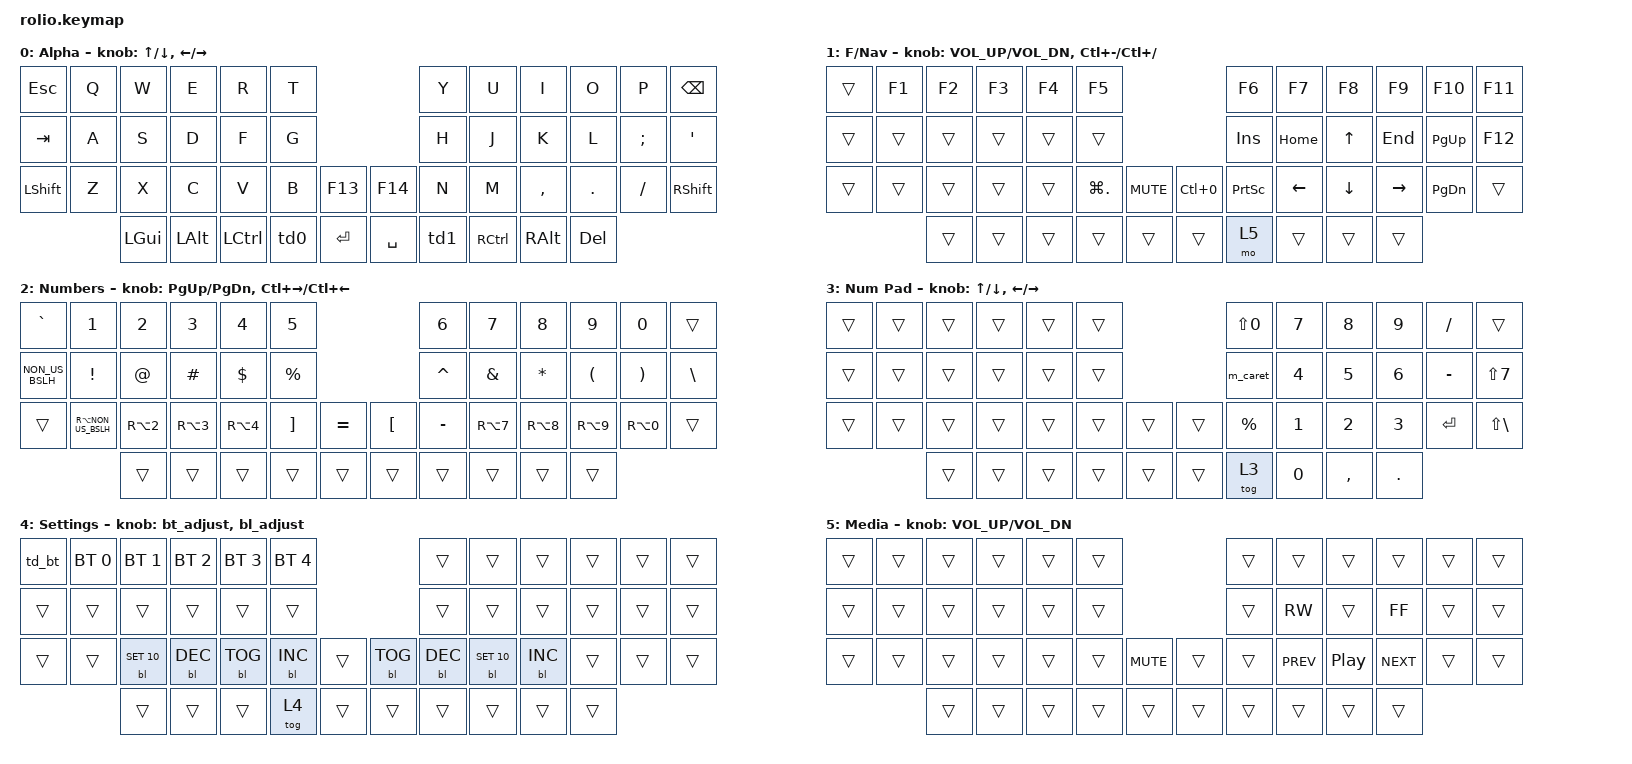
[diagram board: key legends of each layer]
/*
 * Copyright (c) 2020 The ZMK Contributors
 *
 * SPDX-License-Identifier: MIT
 */

#include <behaviors.dtsi>
#include <dt-bindings/zmk/backlight.h>
#include <dt-bindings/zmk/bt.h>
#include <dt-bindings/zmk/keys.h>
#include <dt-bindings/zmk/outputs.h>

#define MACOS     0
#define FKEYS     1
#define NUMBERS   2
#define WINDOWS   3
#define W_FKEYS   4
#define W_NUMBERS 5
#define MATHS     6
#define KB_CONFIG 7

/ {
    conditional_layers {
        compatible = "zmk,conditional-layers";
    };

    behaviors {
        // Toggle F-Keys Layer

        td0: tap_dance_0 {
            compatible = "zmk,behavior-tap-dance";
            label = "TAP_DANCE_0";
            #binding-cells = <0>;
            tapping-term-ms = <300>;
            bindings = <&mo 1>, <&tog 1>, <&tog 4>;
        };

        // Toggle Numbers layer

        td1: tap_dance_1 {
            compatible = "zmk,behavior-tap-dance";
            label = "TAP_DANCE_1";
            #binding-cells = <0>;
            tapping-term-ms = <300>;
            bindings = <&mo 2>, <&tog 3>, <&tog 2>;
        };

        // Toggle capsword left

        td2: tap_dance_2 {
            compatible = "zmk,behavior-tap-dance";
            label = "TAP_DANCE_2";
            #binding-cells = <0>;
            tapping-term-ms = <200>;
            bindings = <&kp LSHFT>, <&caps_word>;
        };

        // Toggle capsword right

        td3: tap_dance_3 {
            compatible = "zmk,behavior-tap-dance";
            label = "TAP_DANCE_3";
            #binding-cells = <0>;
            tapping-term-ms = <200>;
            bindings = <&kp RSHFT>, <&caps_word>;
        };

        // Toggle Windows layer
        // Toggle Windows layer
        // Backspace a whole word when holding backspace
        // Mac OS Word Seek
        //Windows Word Seek
        //Mac OS Zoom
        //Windows OS Zoom

        bl_adjust: bl_adjust {
            compatible = "zmk,behavior-sensor-rotate";
            label = "BL_ADJUST";
            #sensor-binding-cells = <0>;
            bindings = <&bl BL_INC>, <&bl BL_DEC>;
        };

        bt_adjust: bt_adjust {
            compatible = "zmk,behavior-sensor-rotate";
            label = "BT_ADJUST";
            #sensor-binding-cells = <0>;
            bindings = <&bt BT_NXT>, <&bt BT_PRV>;
        };

        td_bt: td_bt {
            compatible = "zmk,behavior-tap-dance";
            label = "TD_BT";
            #binding-cells = <0>;
            bindings = <&none>, <&out OUT_TOG>, <&bt BT_CLR>;
        };
    };

    macros {
        // Word backspace macros

        m_caret: m_caret {
            compatible = "zmk,behavior-macro";
            #binding-cells = <0>;
            bindings = <&kp LS(RBKT) &kp SPACE>;
            label = "M_CARET";
        };

        // Word seek macros
        // Zoom macros
    };

    keymap {
        compatible = "zmk,keymap";

        default_layer {
            label = "Alpha";
            sensor-bindings = <&inc_dec_kp UP DOWN &inc_dec_kp LEFT RIGHT>;
            bindings = <
&kp ESC     &kp Q  &kp W     &kp E     &kp R      &kp T                        &kp Y  &kp U      &kp I      &kp O    &kp P     &kp BSPC
&kp TAB     &kp A  &kp S     &kp D     &kp F      &kp G                        &kp H  &kp J      &kp K      &kp L    &kp SEMI  &kp SQT
&kp LSHIFT  &kp Z  &kp X     &kp C     &kp V      &kp B  &kp F13    &kp F14    &kp N  &kp M      &kp COMMA  &kp DOT  &kp FSLH  &kp RSHIFT
                   &kp LGUI  &kp LALT  &kp LCTRL  &td0   &kp ENTER  &kp SPACE  &td1   &kp RCTRL  &kp RALT   &kp DEL
            >;
        };

        fkeys_nav_layer {
            label = "F/Nav";
            sensor-bindings =
                <&inc_dec_kp C_VOL_UP C_VOL_DN>,
                <&inc_dec_kp LC(MINUS) LC(FSLH)>;

            bindings = <
&trans  &kp F1  &kp F2  &kp F3  &kp F4  &kp F5                               &kp F6     &kp F7    &kp F8    &kp F9     &kp F10    &kp F11
&trans  &trans  &trans  &trans  &trans  &trans                               &kp INS    &kp HOME  &kp UP    &kp END    &kp PG_UP  &kp F12
&trans  &trans  &trans  &trans  &trans  &kp LG(DOT)  &kp C_MUTE  &kp LC(N0)  &kp PSCRN  &kp LEFT  &kp DOWN  &kp RIGHT  &kp PG_DN  &trans
                &trans  &trans  &trans  &trans       &trans      &trans      &mo 5      &trans    &trans    &trans
            >;
        };

        numbers_layer {
            label = "Numbers";
            sensor-bindings =
                <&inc_dec_kp PG_UP PG_DN>,
                <&inc_dec_kp LC(RIGHT) LC(LEFT)>;

            bindings = <
&kp GRAVE        &kp N1               &kp N2            &kp N3      &kp N4      &kp N5                          &kp N6     &kp N7            &kp N8      &kp N9      &kp N0      &trans
&kp NON_US_BSLH  &kp EXCL             &kp AT            &kp HASH    &kp DLLR    &kp PRCNT                       &kp CARET  &kp AMPERSAND     &kp STAR    &kp LPAR    &kp RPAR    &kp BSLH
&trans           &kp RA(NON_US_BSLH)  &kp RA(NUMBER_2)  &kp RA(N3)  &kp RA(N4)  &kp RBKT   &kp EQUAL  &kp LBKT  &kp MINUS  &kp RA(NUMBER_7)  &kp RA(N8)  &kp RA(N9)  &kp RA(N0)  &trans
                                      &trans            &trans      &trans      &trans     &trans     &trans    &trans     &trans            &trans      &trans
            >;
        };

        numpad_layer {
            bindings = <
&trans  &trans  &trans  &trans  &trans  &trans                  &kp LS(N0)  &kp N7  &kp N8     &kp N9   &kp FSLH   &trans
&trans  &trans  &trans  &trans  &trans  &trans                  &m_caret    &kp N4  &kp N5     &kp N6   &kp MINUS  &kp LS(N7)
&trans  &trans  &trans  &trans  &trans  &trans  &trans  &trans  &kp PRCNT   &kp N1  &kp N2     &kp N3   &kp RET    &kp LS(BACKSLASH)
                &trans  &trans  &trans  &trans  &trans  &trans  &tog 3      &kp N0  &kp COMMA  &kp DOT
            >;

            label = "Num Pad";
            sensor-bindings =
                <&inc_dec_kp UP_ARROW DOWN>,
                <&inc_dec_kp LEFT RIGHT>;
        };

        settings_layer {
            label = "Settings";
            sensor-bindings = <&bt_adjust>, <&bl_adjust>;

            bindings = <
&td_bt  &bt BT_SEL 0  &bt BT_SEL 1   &bt BT_SEL 2  &bt BT_SEL 3  &bt BT_SEL 4                      &trans      &trans         &trans      &trans  &trans  &trans
&trans  &trans        &trans         &trans        &trans        &trans                            &trans      &trans         &trans      &trans  &trans  &trans
&trans  &trans        &bl BL_SET 10  &bl BL_DEC    &bl BL_TOG    &bl BL_INC    &trans  &bl BL_TOG  &bl BL_DEC  &bl BL_SET 10  &bl BL_INC  &trans  &trans  &trans
                      &trans         &trans        &trans        &tog 4        &trans  &trans      &trans      &trans         &trans      &trans
            >;
        };

        media_layer {
            bindings = <
&trans  &trans  &trans  &trans  &trans  &trans                      &trans  &trans      &trans    &trans      &trans  &trans
&trans  &trans  &trans  &trans  &trans  &trans                      &trans  &kp C_RW    &trans    &kp C_FF    &trans  &trans
&trans  &trans  &trans  &trans  &trans  &trans  &kp C_MUTE  &trans  &trans  &kp C_PREV  &kp C_PP  &kp C_NEXT  &trans  &trans
                &trans  &trans  &trans  &trans  &trans      &trans  &trans  &trans      &trans    &trans
            >;

            label = "Media";
            sensor-bindings = <&inc_dec_kp C_VOL_UP C_VOL_DN>;
        };
    };
};
